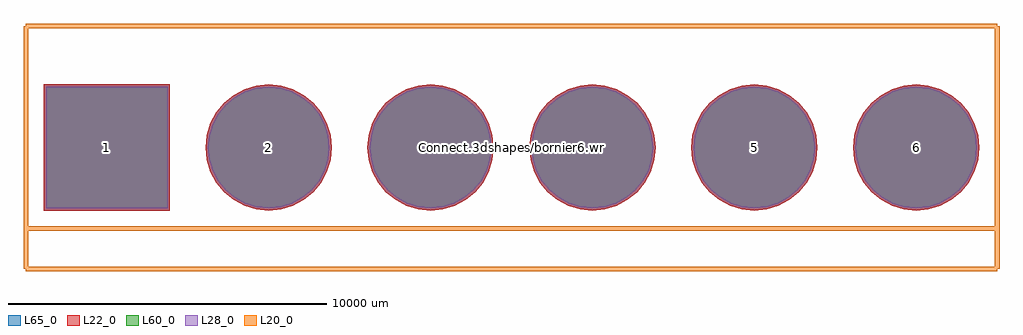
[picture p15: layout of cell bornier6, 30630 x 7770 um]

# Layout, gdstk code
import gdstk
lib = gdstk.Library(unit=1e-6, precision=1e-09)
def R(c, l, rs):  # rectangles x0, y0, x1, y1
    for r in rs: c.add(gdstk.rectangle(r[:2], r[2:], *l))
def P(c, l, *ps):  # polygons
    for p in ps: c.add(gdstk.Polygon(p, *l))
L20_0 = (20, 0)
L22_0 = (22, 0)
L28_0 = (28, 0)
L60_0 = (60, 0)
L65_0 = (65, 0)

bornier6 = lib.new_cell('bornier6')
R(bornier6, L22_0, [(-14680,-1980,-10720,1980)])
P(bornier6, L22_0, [(14680,0),(14641.955,386.279),(14529.281,757.713),(14346.31,1100.029),(14100.071,1400.071),(13800.029,1646.31),(13457.713,1829.281),(13086.279,1941.955),(12700,1980),(12313.721,1941.955),(11942.287,1829.281),(11599.971,1646.31),(11299.929,1400.071),(11053.69,1100.029),(10870.719,757.713),(10758.045,386.279),(10720,0),(10758.045,-386.279),(10870.719,-757.713),(11053.69,-1100.029),(11299.929,-1400.071),(11599.971,-1646.31),(11942.287,-1829.281),(12313.721,-1941.955),(12700,-1980),(13086.279,-1941.955),(13457.713,-1829.281),(13800.029,-1646.31),(14100.071,-1400.071),(14346.31,-1100.029),(14529.281,-757.713),(14641.955,-386.279)],
  [(9600,0),(9561.955,386.279),(9449.281,757.713),(9266.31,1100.029),(9020.071,1400.071),(8720.029,1646.31),(8377.713,1829.281),(8006.279,1941.955),(7620,1980),(7233.721,1941.955),(6862.287,1829.281),(6519.971,1646.31),(6219.929,1400.071),(5973.69,1100.029),(5790.719,757.713),(5678.045,386.279),(5640,0),(5678.045,-386.279),(5790.719,-757.713),(5973.69,-1100.029),(6219.929,-1400.071),(6519.971,-1646.31),(6862.287,-1829.281),(7233.721,-1941.955),(7620,-1980),(8006.279,-1941.955),(8377.713,-1829.281),(8720.029,-1646.31),(9020.071,-1400.071),(9266.31,-1100.029),(9449.281,-757.713),(9561.955,-386.279)],
  [(4520,0),(4481.955,386.279),(4369.281,757.713),(4186.31,1100.029),(3940.071,1400.071),(3640.029,1646.31),(3297.713,1829.281),(2926.279,1941.955),(2540,1980),(2153.721,1941.955),(1782.287,1829.281),(1439.971,1646.31),(1139.929,1400.071),(893.69,1100.029),(710.719,757.713),(598.045,386.279),(560,0),(598.045,-386.279),(710.719,-757.713),(893.69,-1100.029),(1139.929,-1400.071),(1439.971,-1646.31),(1782.287,-1829.281),(2153.721,-1941.955),(2540,-1980),(2926.279,-1941.955),(3297.713,-1829.281),(3640.029,-1646.31),(3940.071,-1400.071),(4186.31,-1100.029),(4369.281,-757.713),(4481.955,-386.279)],
  [(-560,0),(-598.045,386.279),(-710.719,757.713),(-893.69,1100.029),(-1139.929,1400.071),(-1439.971,1646.31),(-1782.287,1829.281),(-2153.721,1941.955),(-2540,1980),(-2926.279,1941.955),(-3297.713,1829.281),(-3640.029,1646.31),(-3940.071,1400.071),(-4186.31,1100.029),(-4369.281,757.713),(-4481.955,386.279),(-4520,0),(-4481.955,-386.279),(-4369.281,-757.713),(-4186.31,-1100.029),(-3940.071,-1400.071),(-3640.029,-1646.31),(-3297.713,-1829.281),(-2926.279,-1941.955),(-2540,-1980),(-2153.721,-1941.955),(-1782.287,-1829.281),(-1439.971,-1646.31),(-1139.929,-1400.071),(-893.69,-1100.029),(-710.719,-757.713),(-598.045,-386.279)],
  [(-5640,0),(-5678.045,386.279),(-5790.719,757.713),(-5973.69,1100.029),(-6219.929,1400.071),(-6519.971,1646.31),(-6862.287,1829.281),(-7233.721,1941.955),(-7620,1980),(-8006.279,1941.955),(-8377.713,1829.281),(-8720.029,1646.31),(-9020.071,1400.071),(-9266.31,1100.029),(-9449.281,757.713),(-9561.955,386.279),(-9600,0),(-9561.955,-386.279),(-9449.281,-757.713),(-9266.31,-1100.029),(-9020.071,-1400.071),(-8720.029,-1646.31),(-8377.713,-1829.281),(-8006.279,-1941.955),(-7620,-1980),(-7233.721,-1941.955),(-6862.287,-1829.281),(-6519.971,-1646.31),(-6219.929,-1400.071),(-5973.69,-1100.029),(-5790.719,-757.713),(-5678.045,-386.279)])
R(bornier6, L28_0, [(-14605,-1905,-10795,1905)])
P(bornier6, L28_0, [(14605,0),(14568.396,371.647),(14459.991,729.012),(14283.95,1058.361),(14047.038,1347.038),(13758.361,1583.95),(13429.012,1759.991),(13071.647,1868.396),(12700,1905),(12328.353,1868.396),(11970.988,1759.991),(11641.639,1583.95),(11352.962,1347.038),(11116.05,1058.361),(10940.009,729.012),(10831.604,371.647),(10795,0),(10831.604,-371.647),(10940.009,-729.012),(11116.05,-1058.361),(11352.962,-1347.038),(11641.639,-1583.95),(11970.988,-1759.991),(12328.353,-1868.396),(12700,-1905),(13071.647,-1868.396),(13429.012,-1759.991),(13758.361,-1583.95),(14047.038,-1347.038),(14283.95,-1058.361),(14459.991,-729.012),(14568.396,-371.647)],
  [(9525,0),(9488.396,371.647),(9379.991,729.012),(9203.95,1058.361),(8967.038,1347.038),(8678.361,1583.95),(8349.012,1759.991),(7991.647,1868.396),(7620,1905),(7248.353,1868.396),(6890.988,1759.991),(6561.639,1583.95),(6272.962,1347.038),(6036.05,1058.361),(5860.009,729.012),(5751.604,371.647),(5715,0),(5751.604,-371.647),(5860.009,-729.012),(6036.05,-1058.361),(6272.962,-1347.038),(6561.639,-1583.95),(6890.988,-1759.991),(7248.353,-1868.396),(7620,-1905),(7991.647,-1868.396),(8349.012,-1759.991),(8678.361,-1583.95),(8967.038,-1347.038),(9203.95,-1058.361),(9379.991,-729.012),(9488.396,-371.647)],
  [(4445,0),(4408.396,371.647),(4299.991,729.012),(4123.95,1058.361),(3887.038,1347.038),(3598.361,1583.95),(3269.012,1759.991),(2911.647,1868.396),(2540,1905),(2168.353,1868.396),(1810.988,1759.991),(1481.639,1583.95),(1192.962,1347.038),(956.05,1058.361),(780.009,729.012),(671.604,371.647),(635,0),(671.604,-371.647),(780.009,-729.012),(956.05,-1058.361),(1192.962,-1347.038),(1481.639,-1583.95),(1810.988,-1759.991),(2168.353,-1868.396),(2540,-1905),(2911.647,-1868.396),(3269.012,-1759.991),(3598.361,-1583.95),(3887.038,-1347.038),(4123.95,-1058.361),(4299.991,-729.012),(4408.396,-371.647)],
  [(-635,0),(-671.604,371.647),(-780.009,729.012),(-956.05,1058.361),(-1192.962,1347.038),(-1481.639,1583.95),(-1810.988,1759.991),(-2168.353,1868.396),(-2540,1905),(-2911.647,1868.396),(-3269.012,1759.991),(-3598.361,1583.95),(-3887.038,1347.038),(-4123.95,1058.361),(-4299.991,729.012),(-4408.396,371.647),(-4445,0),(-4408.396,-371.647),(-4299.991,-729.012),(-4123.95,-1058.361),(-3887.038,-1347.038),(-3598.361,-1583.95),(-3269.012,-1759.991),(-2911.647,-1868.396),(-2540,-1905),(-2168.353,-1868.396),(-1810.988,-1759.991),(-1481.639,-1583.95),(-1192.962,-1347.038),(-956.05,-1058.361),(-780.009,-729.012),(-671.604,-371.647)],
  [(-5715,0),(-5751.604,371.647),(-5860.009,729.012),(-6036.05,1058.361),(-6272.962,1347.038),(-6561.639,1583.95),(-6890.988,1759.991),(-7248.353,1868.396),(-7620,1905),(-7991.647,1868.396),(-8349.012,1759.991),(-8678.361,1583.95),(-8967.038,1347.038),(-9203.95,1058.361),(-9379.991,729.012),(-9488.396,371.647),(-9525,0),(-9488.396,-371.647),(-9379.991,-729.012),(-9203.95,-1058.361),(-8967.038,-1347.038),(-8678.361,-1583.95),(-8349.012,-1759.991),(-7991.647,-1868.396),(-7620,-1905),(-7248.353,-1868.396),(-6890.988,-1759.991),(-6561.639,-1583.95),(-6272.962,-1347.038),(-6036.05,-1058.361),(-5860.009,-729.012),(-5751.604,-371.647)])
R(bornier6, L60_0, [(-14605,-1905,-10795,1905)])
P(bornier6, L60_0, [(14605,0),(14568.396,371.647),(14459.991,729.012),(14283.95,1058.361),(14047.038,1347.038),(13758.361,1583.95),(13429.012,1759.991),(13071.647,1868.396),(12700,1905),(12328.353,1868.396),(11970.988,1759.991),(11641.639,1583.95),(11352.962,1347.038),(11116.05,1058.361),(10940.009,729.012),(10831.604,371.647),(10795,0),(10831.604,-371.647),(10940.009,-729.012),(11116.05,-1058.361),(11352.962,-1347.038),(11641.639,-1583.95),(11970.988,-1759.991),(12328.353,-1868.396),(12700,-1905),(13071.647,-1868.396),(13429.012,-1759.991),(13758.361,-1583.95),(14047.038,-1347.038),(14283.95,-1058.361),(14459.991,-729.012),(14568.396,-371.647)],
  [(9525,0),(9488.396,371.647),(9379.991,729.012),(9203.95,1058.361),(8967.038,1347.038),(8678.361,1583.95),(8349.012,1759.991),(7991.647,1868.396),(7620,1905),(7248.353,1868.396),(6890.988,1759.991),(6561.639,1583.95),(6272.962,1347.038),(6036.05,1058.361),(5860.009,729.012),(5751.604,371.647),(5715,0),(5751.604,-371.647),(5860.009,-729.012),(6036.05,-1058.361),(6272.962,-1347.038),(6561.639,-1583.95),(6890.988,-1759.991),(7248.353,-1868.396),(7620,-1905),(7991.647,-1868.396),(8349.012,-1759.991),(8678.361,-1583.95),(8967.038,-1347.038),(9203.95,-1058.361),(9379.991,-729.012),(9488.396,-371.647)],
  [(4445,0),(4408.396,371.647),(4299.991,729.012),(4123.95,1058.361),(3887.038,1347.038),(3598.361,1583.95),(3269.012,1759.991),(2911.647,1868.396),(2540,1905),(2168.353,1868.396),(1810.988,1759.991),(1481.639,1583.95),(1192.962,1347.038),(956.05,1058.361),(780.009,729.012),(671.604,371.647),(635,0),(671.604,-371.647),(780.009,-729.012),(956.05,-1058.361),(1192.962,-1347.038),(1481.639,-1583.95),(1810.988,-1759.991),(2168.353,-1868.396),(2540,-1905),(2911.647,-1868.396),(3269.012,-1759.991),(3598.361,-1583.95),(3887.038,-1347.038),(4123.95,-1058.361),(4299.991,-729.012),(4408.396,-371.647)],
  [(-635,0),(-671.604,371.647),(-780.009,729.012),(-956.05,1058.361),(-1192.962,1347.038),(-1481.639,1583.95),(-1810.988,1759.991),(-2168.353,1868.396),(-2540,1905),(-2911.647,1868.396),(-3269.012,1759.991),(-3598.361,1583.95),(-3887.038,1347.038),(-4123.95,1058.361),(-4299.991,729.012),(-4408.396,371.647),(-4445,0),(-4408.396,-371.647),(-4299.991,-729.012),(-4123.95,-1058.361),(-3887.038,-1347.038),(-3598.361,-1583.95),(-3269.012,-1759.991),(-2911.647,-1868.396),(-2540,-1905),(-2168.353,-1868.396),(-1810.988,-1759.991),(-1481.639,-1583.95),(-1192.962,-1347.038),(-956.05,-1058.361),(-780.009,-729.012),(-671.604,-371.647)],
  [(-5715,0),(-5751.604,371.647),(-5860.009,729.012),(-6036.05,1058.361),(-6272.962,1347.038),(-6561.639,1583.95),(-6890.988,1759.991),(-7248.353,1868.396),(-7620,1905),(-7991.647,1868.396),(-8349.012,1759.991),(-8678.361,1583.95),(-8967.038,1347.038),(-9203.95,1058.361),(-9379.991,729.012),(-9488.396,371.647),(-9525,0),(-9488.396,-371.647),(-9379.991,-729.012),(-9203.95,-1058.361),(-8967.038,-1347.038),(-8678.361,-1583.95),(-8349.012,-1759.991),(-7991.647,-1868.396),(-7620,-1905),(-7248.353,-1868.396),(-6890.988,-1759.991),(-6561.639,-1583.95),(-6272.962,-1347.038),(-6036.05,-1058.361),(-5860.009,-729.012),(-5751.604,-371.647)])
R(bornier6, L65_0, [(-14680,-1980,-10720,1980)])
P(bornier6, L65_0, [(14680,0),(14641.955,386.279),(14529.281,757.713),(14346.31,1100.029),(14100.071,1400.071),(13800.029,1646.31),(13457.713,1829.281),(13086.279,1941.955),(12700,1980),(12313.721,1941.955),(11942.287,1829.281),(11599.971,1646.31),(11299.929,1400.071),(11053.69,1100.029),(10870.719,757.713),(10758.045,386.279),(10720,0),(10758.045,-386.279),(10870.719,-757.713),(11053.69,-1100.029),(11299.929,-1400.071),(11599.971,-1646.31),(11942.287,-1829.281),(12313.721,-1941.955),(12700,-1980),(13086.279,-1941.955),(13457.713,-1829.281),(13800.029,-1646.31),(14100.071,-1400.071),(14346.31,-1100.029),(14529.281,-757.713),(14641.955,-386.279)],
  [(9600,0),(9561.955,386.279),(9449.281,757.713),(9266.31,1100.029),(9020.071,1400.071),(8720.029,1646.31),(8377.713,1829.281),(8006.279,1941.955),(7620,1980),(7233.721,1941.955),(6862.287,1829.281),(6519.971,1646.31),(6219.929,1400.071),(5973.69,1100.029),(5790.719,757.713),(5678.045,386.279),(5640,0),(5678.045,-386.279),(5790.719,-757.713),(5973.69,-1100.029),(6219.929,-1400.071),(6519.971,-1646.31),(6862.287,-1829.281),(7233.721,-1941.955),(7620,-1980),(8006.279,-1941.955),(8377.713,-1829.281),(8720.029,-1646.31),(9020.071,-1400.071),(9266.31,-1100.029),(9449.281,-757.713),(9561.955,-386.279)],
  [(4520,0),(4481.955,386.279),(4369.281,757.713),(4186.31,1100.029),(3940.071,1400.071),(3640.029,1646.31),(3297.713,1829.281),(2926.279,1941.955),(2540,1980),(2153.721,1941.955),(1782.287,1829.281),(1439.971,1646.31),(1139.929,1400.071),(893.69,1100.029),(710.719,757.713),(598.045,386.279),(560,0),(598.045,-386.279),(710.719,-757.713),(893.69,-1100.029),(1139.929,-1400.071),(1439.971,-1646.31),(1782.287,-1829.281),(2153.721,-1941.955),(2540,-1980),(2926.279,-1941.955),(3297.713,-1829.281),(3640.029,-1646.31),(3940.071,-1400.071),(4186.31,-1100.029),(4369.281,-757.713),(4481.955,-386.279)],
  [(-560,0),(-598.045,386.279),(-710.719,757.713),(-893.69,1100.029),(-1139.929,1400.071),(-1439.971,1646.31),(-1782.287,1829.281),(-2153.721,1941.955),(-2540,1980),(-2926.279,1941.955),(-3297.713,1829.281),(-3640.029,1646.31),(-3940.071,1400.071),(-4186.31,1100.029),(-4369.281,757.713),(-4481.955,386.279),(-4520,0),(-4481.955,-386.279),(-4369.281,-757.713),(-4186.31,-1100.029),(-3940.071,-1400.071),(-3640.029,-1646.31),(-3297.713,-1829.281),(-2926.279,-1941.955),(-2540,-1980),(-2153.721,-1941.955),(-1782.287,-1829.281),(-1439.971,-1646.31),(-1139.929,-1400.071),(-893.69,-1100.029),(-710.719,-757.713),(-598.045,-386.279)],
  [(-5640,0),(-5678.045,386.279),(-5790.719,757.713),(-5973.69,1100.029),(-6219.929,1400.071),(-6519.971,1646.31),(-6862.287,1829.281),(-7233.721,1941.955),(-7620,1980),(-8006.279,1941.955),(-8377.713,1829.281),(-8720.029,1646.31),(-9020.071,1400.071),(-9266.31,1100.029),(-9449.281,757.713),(-9561.955,386.279),(-9600,0),(-9561.955,-386.279),(-9449.281,-757.713),(-9266.31,-1100.029),(-9020.071,-1400.071),(-8720.029,-1646.31),(-8377.713,-1829.281),(-8006.279,-1941.955),(-7620,-1980),(-7233.721,-1941.955),(-6862.287,-1829.281),(-6519.971,-1646.31),(-6219.929,-1400.071),(-5973.69,-1100.029),(-5790.719,-757.713),(-5678.045,-386.279)])
bornier6.add(gdstk.FlexPath([(-15240,-3810),(15240,-3810)], 149.998, ends="flush", simple_path=True, layer=20, datatype=0))  # L20_0
bornier6.add(gdstk.FlexPath([(-15240,3810),(15240,3810)], 149.998, ends="flush", simple_path=True, layer=20, datatype=0))  # L20_0
bornier6.add(gdstk.FlexPath([(-15240,-2540),(15240,-2540)], 149.998, ends="flush", simple_path=True, layer=20, datatype=0))  # L20_0
bornier6.add(gdstk.FlexPath([(15240,-3810),(15240,3810)], 149.998, ends="flush", simple_path=True, layer=20, datatype=0))  # L20_0
bornier6.add(gdstk.FlexPath([(-15240,3810),(-15240,-3810)], 149.998, ends="flush", simple_path=True, layer=20, datatype=0))  # L20_0
bornier6.add(gdstk.Label('Connect.3dshapes/bornier6.wrl', (0,0), layer=12, texttype=0))
bornier6.add(gdstk.Label('6', (12700,0), layer=28, texttype=0))
bornier6.add(gdstk.Label('5', (7620,0), layer=28, texttype=0))
bornier6.add(gdstk.Label('4', (2540,0), layer=28, texttype=0))
bornier6.add(gdstk.Label('1', (-12700,0), layer=28, texttype=0))
bornier6.add(gdstk.Label('3', (-2540,0), layer=28, texttype=0))
bornier6.add(gdstk.Label('2', (-7620,0), layer=28, texttype=0))
bornier6.add(gdstk.Label('type', (0,-7620), layer=9, texttype=0))
bornier6.add(gdstk.Label('devicename', (1270,7620), layer=9, texttype=0))

lib.write_gds('bornier6.gds')
